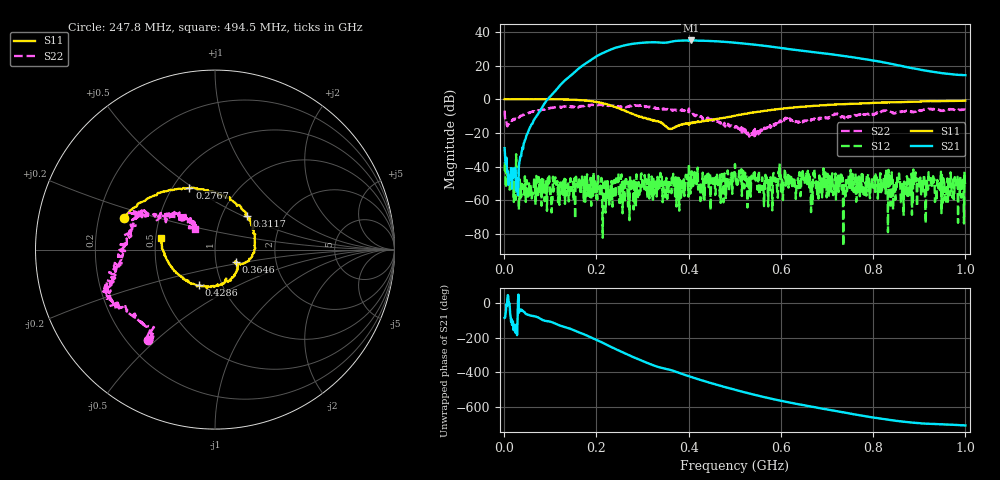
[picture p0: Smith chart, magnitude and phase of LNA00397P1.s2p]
! Created with skrf 1.9.0 (http://scikit-rf.org).
# Hz S RI R 50.0
!freq ReS11 ImS11 ReS21 ImS21 ReS12 ImS12 ReS22 ImS22
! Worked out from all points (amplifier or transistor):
!   1001 points, 1 MHz to 1 GHz, reference 50 ohm
!   highest |S21| = 34.9 dB at 404.6 MHz (marker M1)
!   |S21| within 3 dB of that: 259.9 MHz to 558.3 MHz (298.5 MHz wide, 73 % of centre)
!   unconditionally stable (mu >= 1): 179 MHz to 247.5 MHz; 247.9 MHz to 400.4 MHz; 400.9 MHz to end of sweep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
!   at 166.8 MHz: K = 2.02, MAG = 31.7 dB, |S12| = -55.8 dB
!   at 500.5 MHz: K = 1.06, MAG = 34.5 dB, |S12| = -38.5 dB
!   at 1 GHz: K = 4.77, MAG = 23.1 dB, |S12| = -51.4 dB
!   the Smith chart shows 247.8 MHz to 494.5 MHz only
!   S11 on the Smith chart (normalised r, x): 247.8 MHz: 0.31, +0.15; 276.7 MHz: 0.60, +0.48; 311.7 MHz: 1.31, +0.53; 364.6 MHz: 1.25, -0.17; 428.6 MHz: 0.78, -0.32; 494.5 MHz: 0.53, +0.08
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1000000  1.002 0.0139  0.00223 -0.0351  -0.00649 0.00385  0.3095 0.335
1.09891e8  0.5225 -0.8466  -0.8082 -1.498  0.00143 -0.00399  0.4364 -0.3683
1.67833e8  -0.2035 -0.9099  -9.458 -0.7402  0.000218 -0.00275  0.0385 -0.6279
2.11789e8  -0.6686 -0.3823  -15.23 16.95  -0.00137 -4e-05  -0.2041 -0.6409
2.29771e8  -0.6575 -0.0743  -9.423 27.71  0.000384 -0.000838  -0.2767 -0.59
2.47753e8  -0.5075 0.1751  2.513 35.78  -0.000779 -0.00619  -0.3726 -0.5056
2.76724e8  -0.1428 0.3438  27.74 33.55  0.00372 0.00138  -0.5761 -0.3071
3.11689e8  0.1755 0.188  47.36 9.986  -0.00144 -0.000813  -0.578 -0.1495
3.34666e8  0.2201 -0.0142  47.68 -8.802  -0.00148 0.00482  -0.5166 -0.0409
3.64636e8  0.1151 -0.0685  44.68 -26.43  0.00309 0.00101  -0.47 0.1389
3.85615e8  0.1101 -0.1422  35.19 -42.32  0.00137 0.00337  -0.452 0.2142
4.04596e8  0.0392 -0.1952  21.45 -51.2  0.000515 0.00561  -0.3275 0.1967
4.28572e8  -0.0885 -0.1986  2.991 -54.66  0.00334 0.00098  -0.2285 0.1814
4.59541e8  -0.2315 -0.1119  -19.16 -48.79  0.00258 0.00485  -0.1605 0.1492
4.94506e8  -0.3035 0.0666  -35.86 -32.77  0.00154 -3.81e-05  -0.1135 0.1174
5.005e8  -0.3079 0.1083  -37.55 -29.52  0.0116 -0.00231  -0.1164 0.079
5.38462e8  -0.2499 0.3093  -41.39 -9.048  0.00519 -0.00169  -0.098 0.00528
5.83417e8  -0.0731 0.4824  -34.25 9.785  0.00473 -0.00384  -0.1635 -0.0664
6.67333e8  0.3215 0.5371  -12.79 21.65  -0.000638 -0.00205  -0.2519 0.00303
7.55245e8  0.6337 0.3673  3.44 17.22  0.0032 -0.00515  -0.3086 0.0726
8.34166e8  0.786 0.1453  8.154 8.202  -0.00246 -0.000665  -0.4223 0.1218
1e9  0.8161 -0.3924  5.048 1.129  -0.00187 0.00192  -0.1709 0.4527
